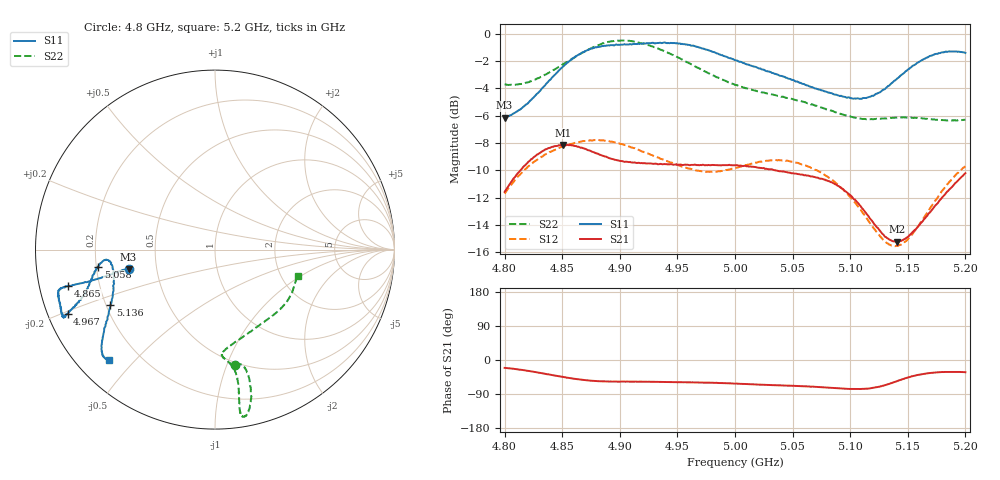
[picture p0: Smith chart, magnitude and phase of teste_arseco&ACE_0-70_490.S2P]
! Network Analyzer HP8722D
! Hewlett-Packard
! Data name: Linha & Wilkinson
! Saver's name: Rodrigo Anjos
! Comments: Teste da utilização de aquisição
! continua pelo VNA HP8722D
! Time and date: 8/5/2025 16:50
!  Frequency  S11  S21  S12  S22
# HZ  S  MA R 50
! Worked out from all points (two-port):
!   401 points, 4.8 GHz to 5.2 GHz, reference 50 ohm
!   highest |S21| = -8.13 dB at 4.851 GHz (marker M1); lowest = -15.2 dB at 5.141 GHz (marker M2)
!   |S21| within 3 dB of the highest: 4.803 GHz to 5.089 GHz (285.9 MHz wide, 5.78 % of centre); 5.189273 GHz to end of sweep
!   lowest |S11| = -6.1 dB at 4.8 GHz (marker M3), VSWR 2.95, Z = 17.1 - j4.92 ohm
!   |S11| at or under -10 dB: nowhere
!   |S22| runs from -6.4 to -0.5 dB; largest |S21 - S12| = 0.62
!   S11 on the Smith chart (normalised r, x): 4.8 GHz: 0.34, -0.10; 4.865 GHz: 0.09, -0.12; 4.967 GHz: 0.06, -0.21; 5.058 GHz: 0.21, -0.07; 5.136 GHz: 0.22, -0.24; 5.2 GHz: 0.10, -0.42
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4.8e9  0.4933 -167.3  0.2635 -20.8  0.2601 -141.9  0.6531 -80.2
4.821e9  0.5611 -167.0  0.341 -28.9  0.3279 -145.2  0.6649 -76.5
4.851e9  0.7606 -165.9  0.3921 -45.1  0.3865 -150.7  0.775 -75.3
4.865e9  0.8422 -166.2  0.3845 -51.3  0.4019 -152.9  0.8411 -76.1
4.867e9  0.8517 -166.1  0.3829 -52.1  0.4035 -153.2  0.8497 -76.3
4.897e9  0.9137 -163.5  0.3448 -57.0  0.4 -157.2  0.943 -79.7
4.913e9  0.9171 -160.2  0.338 -57.1  0.3811 -157.4  0.935 -80.9
4.934e9  0.9255 -156.7  0.333 -57.8  0.3515 -156.0  0.8794 -81.1
4.967e9  0.8957 -156.5  0.3305 -59.3  0.3154 -148.3  0.7524 -80.2
5e9  0.8009 -159.5  0.33 -62.3  0.3224 -137.8  0.65 -81.7
5.033e9  0.7186 -165.5  0.3179 -66.3  0.3442 -135.2  0.5989 -85.9
5.058e9  0.6569 -171.7  0.3054 -69.0  0.3323 -137.1  0.5656 -84.7
5.067e9  0.6374 -173.4  0.3007 -70.1  0.3223 -137.9  0.5518 -82.6
5.085e9  0.6028 -174.5  0.2842 -73.7  0.2904 -139.4  0.5213 -75.4
5.101e9  0.5809 -171.5  0.2547 -76.4  0.2499 -139.4  0.4966 -65.8
5.116e9  0.5862 -164.1  0.2146 -75.4  0.206 -135.0  0.4862 -55.0
5.134e9  0.6466 -153.0  0.1764 -62.9  0.169 -118.3  0.4911 -42.8
5.136e9  0.6598 -152.0  0.1749 -60.9  0.1677 -115.8  0.4917 -41.5
5.141e9  0.6873 -149.5  0.1732 -55.2  0.1671 -109.1  0.4935 -38.8
5.153e9  0.7545 -144.8  0.1856 -43.6  0.1827 -94.5  0.4936 -32.6
5.172e9  0.8364 -139.0  0.2295 -33.5  0.239 -81.0  0.4855 -24.5
5.2e9  0.8505 -133.8  0.3087 -32.2  0.3273 -77.7  0.4848 -17.8
